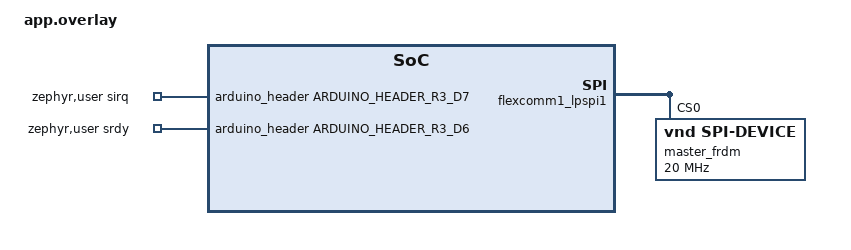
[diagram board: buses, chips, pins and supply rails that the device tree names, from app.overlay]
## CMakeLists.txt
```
cmake_minimum_required(VERSION 3.20.0)
find_package(Zephyr REQUIRED HINTS $ENV{ZEPHYR_BASE})
project(spi2c-speed-test-master)

target_sources(app PRIVATE src/main.c)
```

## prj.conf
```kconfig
CONFIG_SPI=y
CONFIG_MAIN_STACK_SIZE=8192
CONFIG_SPI_NXP_LPSPI=y
CONFIG_SPI_NXP_LPSPI_DMA=n
CONFIG_SPI_ASYNC=n
CONFIG_GPIO=y
CONFIG_HEAP_MEM_POOL_SIZE=2048
CONFIG_PRINTK=y
CONFIG_CRC=y
CONFIG_SPEED_OPTIMIZATIONS=y
```

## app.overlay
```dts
&flexcomm1_lpspi1 {
	//transfer-delay = <100>;
	//sck-pcs-delay = <200>;
	//pcs-sck-delay = <200>;
	master_frdm: master_frdm@0 {
		compatible = "vnd,spi-device";
		reg = <0>;
		spi-max-frequency = <20000000>;
		label = "master_frdm";
	};
};

/ {
	zephyr,user {
		sirq-gpios = <&arduino_header ARDUINO_HEADER_R3_D7 GPIO_ACTIVE_HIGH>;
		srdy-gpios = <&arduino_header ARDUINO_HEADER_R3_D6 GPIO_ACTIVE_HIGH>;
	};
};
```

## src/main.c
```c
#include <zephyr/kernel.h>
#include <zephyr/drivers/spi.h>
#include <zephyr/drivers/gpio.h>
#include <zephyr/sys/crc.h>
#include <string.h>

#define MAX_TRANSACTION_SIZE 512

#define CRC8_POLYNOMIAL 0x07

#define SPI2C_REG_READ  0

#define SYS_DRIVER_REG     1
#define DATA_CONTAINER_REG 2

#define DATA_CONTAINER_SIZE (MAX_TRANSACTION_SIZE - sizeof(struct spi2c_packet_out))

/* Change this to test different read sizes */
#define TEST_READ_SIZE 500

#define DRIVER_REG_UNINIT       (1 << 0)
#define DRIVER_REG_INIT         (1 << 1)
#define DRIVER_REG_HARD_FAILURE (1 << 3)
#define DRIVER_REG_GPIO_ERROR   (1 << 4)
#define DRIVER_REG_DEVICE_ERROR (1 << 5)

struct spi2c_packet_in {
	uint8_t crc8;
	uint8_t cmd;
	uint8_t reg;
	size_t size;
	uint8_t data[];
};

struct spi2c_packet_out {
	uint8_t flag;
	size_t size;
	uint8_t data[];
};

#define SPI_OP (SPI_OP_MODE_MASTER | SPI_MODE_CPOL | SPI_MODE_CPHA | \
                SPI_WORD_SET(32) | SPI_TRANSFER_MSB | SPI_LINES_SINGLE)

static const struct spi_dt_spec master_dev =
    SPI_DT_SPEC_GET(DT_NODELABEL(master_frdm), SPI_OP);

static const struct gpio_dt_spec sirq_pin =
    GPIO_DT_SPEC_GET(DT_PATH(zephyr_user), sirq_gpios);
static const struct gpio_dt_spec srdy_pin =
    GPIO_DT_SPEC_GET(DT_PATH(zephyr_user), srdy_gpios);

static struct k_sem sirq_sem;
static struct k_sem srdy_sem;

static void sirq_callback(const struct device *dev, struct gpio_callback *cb, uint32_t pins) {
	k_sem_give(&sirq_sem);
}

static void srdy_callback(const struct device *dev, struct gpio_callback *cb, uint32_t pins) {
	k_sem_give(&srdy_sem);
}

static void init_buffer(struct spi_buf_set *buf_set, struct spi_buf *buf,
                        size_t len, void *data) {
	buf->buf = data;
	buf->len = len;
	buf_set->buffers = buf;
	buf_set->count = 1;
}

static void wait_for_srdy(void) {
	k_sem_take(&srdy_sem, K_FOREVER);
}

static void wait_for_sirq(void) {
	k_sem_take(&sirq_sem, K_FOREVER);
}

static void spi_transact(uint8_t *tx_buf, uint8_t *rx_buf) {
	struct spi_buf_set tx_set, rx_set;
	struct spi_buf tx, rx;
	memset(rx_buf, 0, MAX_TRANSACTION_SIZE);
	init_buffer(&tx_set, &tx, MAX_TRANSACTION_SIZE, tx_buf);
	init_buffer(&rx_set, &rx, MAX_TRANSACTION_SIZE, rx_buf);
	wait_for_srdy();
	spi_transceive_dt(&master_dev, &tx_set, &rx_set);
}

static void build_read_packet(uint8_t *buf, uint8_t reg, size_t read_size) {
	memset(buf, 0, MAX_TRANSACTION_SIZE);
	struct spi2c_packet_in *pkt = (struct spi2c_packet_in *)buf;
	pkt->cmd = SPI2C_REG_READ;
	pkt->reg = reg;
	pkt->size = read_size;
	size_t crc_len = sizeof(pkt->cmd) + sizeof(pkt->reg) +
	                 sizeof(pkt->size) + read_size;
	pkt->crc8 = crc8((uint8_t *)&pkt->cmd, crc_len, CRC8_POLYNOMIAL, 0x00, false);
}

static void read_register(uint8_t *tx_buf, uint8_t *rx_buf,
                           uint8_t reg, size_t read_size,
                           struct spi2c_packet_out **out) {
	build_read_packet(tx_buf, reg, read_size);
	spi_transact(tx_buf, rx_buf);

	memset(tx_buf, 0, MAX_TRANSACTION_SIZE);
	tx_buf[0] = 0xFF;
	spi_transact(tx_buf, rx_buf);
	*out = (struct spi2c_packet_out *)rx_buf;
}

int main(void) {
	static uint8_t tx_buf[MAX_TRANSACTION_SIZE];
	static uint8_t rx_buf[MAX_TRANSACTION_SIZE];
	k_sem_init(&srdy_sem, 0, 1);
	k_sem_init(&sirq_sem, 0, 1);
	if (!spi_is_ready_dt(&master_dev)) {
		printk("SPI device not ready\n");
		return 0;
	}

	gpio_pin_configure_dt(&sirq_pin, GPIO_INPUT);
	gpio_pin_interrupt_configure_dt(&sirq_pin, GPIO_INT_EDGE_TO_ACTIVE);
	static struct gpio_callback sirq_cb_data;
	gpio_init_callback(&sirq_cb_data, sirq_callback, BIT(sirq_pin.pin));
	gpio_add_callback(sirq_pin.port, &sirq_cb_data);

	gpio_pin_configure_dt(&srdy_pin, GPIO_INPUT);
	gpio_pin_interrupt_configure_dt(&srdy_pin, GPIO_INT_EDGE_TO_ACTIVE);
	static struct gpio_callback srdy_cb_data;
	gpio_init_callback(&srdy_cb_data, srdy_callback, BIT(srdy_pin.pin));
	gpio_add_callback(srdy_pin.port, &srdy_cb_data);

	printk("Waiting for slave to boot...\n");
	k_msleep(3000);

	printk("Waiting for SIRQ (sirq=%d, srdy=%d)...\n",
	       gpio_pin_get_dt(&sirq_pin), gpio_pin_get_dt(&srdy_pin));
	wait_for_sirq();
	printk("SIRQ received, reading driver status...\n");

	struct spi2c_packet_out *resp;
	read_register(tx_buf, rx_buf, SYS_DRIVER_REG, sizeof(uint8_t), &resp);

	if (resp->size == sizeof(uint8_t)) {
		uint8_t status = resp->data[0];
		printk("Driver status: 0x%02X\n", status);
		if (status & DRIVER_REG_INIT) {
			printk("  Driver ready\n");
		}
		if (status & DRIVER_REG_UNINIT) {
			printk("  UNINIT: driver not initialized\n");
		}
		if (status & DRIVER_REG_GPIO_ERROR) {
			printk("  GPIO ERROR\n");
		}
		if (status & DRIVER_REG_DEVICE_ERROR) {
			printk("  DEVICE ERROR\n");
		}
		if (status & DRIVER_REG_HARD_FAILURE) {
			printk("  HARD FAILURE\n");
		}
	} else {
		printk("Failed to read driver status: flag=0x%02X size=%u\n",
		       resp->flag, (unsigned)resp->size);
	}

	printk("\n=== SPI2C Read Speed Test (%u bytes per read) ===\n\n",
	       (unsigned)TEST_READ_SIZE);

	uint32_t read_count = 0;
	uint32_t error_count = 0;
	int64_t batch_start = k_uptime_get();

	for (;;) {
		read_register(tx_buf, rx_buf, DATA_CONTAINER_REG,
		              TEST_READ_SIZE, &resp);

		if (resp->size != TEST_READ_SIZE) {
			error_count++;
			if (error_count <= 5) {
				printk("Read error: flag=0x%02X size=%u\n",
				       resp->flag, (unsigned)resp->size);
			}
			continue;
		}

		read_count++;

		if (read_count % 1000 == 0) {
			int64_t now = k_uptime_get();
			int64_t elapsed_ms = now - batch_start;
			uint32_t total_bytes = read_count * TEST_READ_SIZE;

			if (elapsed_ms > 0) {
				uint32_t bytes_per_sec =
				    (uint32_t)((uint64_t)total_bytes * 1000 /
				               elapsed_ms);
				printk("[%u reads] %u bytes in %lld ms "
				       "=> %u B/s | errors: %u\n",
				       read_count, total_bytes, elapsed_ms,
				       bytes_per_sec, error_count);
			}

			read_count = 0;
			error_count = 0;
			batch_start = k_uptime_get();
		}
	}

	return 0;
}
```
